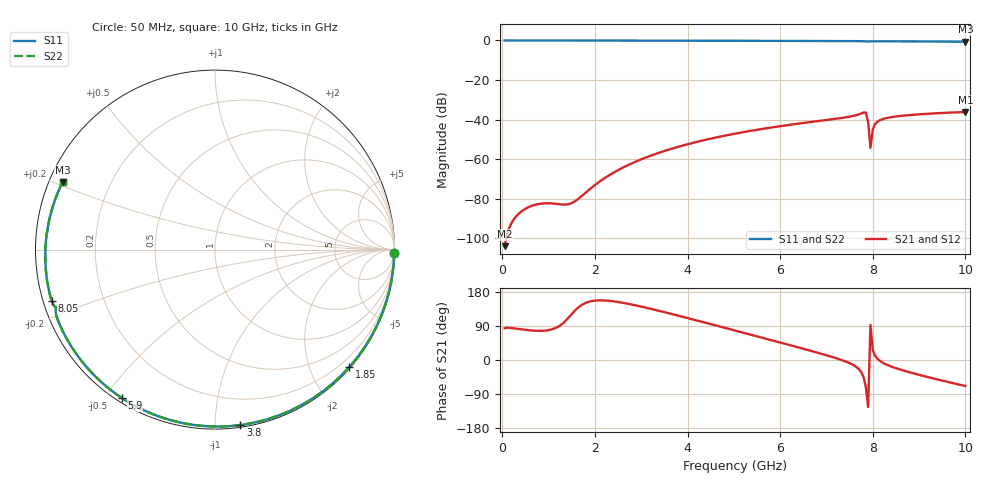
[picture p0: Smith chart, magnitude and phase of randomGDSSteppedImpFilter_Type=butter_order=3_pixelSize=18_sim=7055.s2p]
! freq	dB(S11)	phase(S11)	dB(S12)	phase(S12)
!  dB(S21)	phase(S21)	dB(S22)	phase(S22)
!S-par simulation data
#  GHz  S  DB  R 50
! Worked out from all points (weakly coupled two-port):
!   200 points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, 50 MHz to 10 GHz, reference 50 ohm
!   highest |S21| = -36.16 dB at 10 GHz (marker M1); lowest = -103.9 dB at 50 MHz (marker M2)
!   lowest |S11| = -0.6 dB at 10 GHz (marker M3), VSWR 27.13, Z = 1.93 + j10.6 ohm
!   |S11| at or under -10 dB: nowhere
!   |S22| runs from -0.6 to 0.0 dB; largest |S21 - S12| = 0
!   S11 on the Smith chart (normalised r, x): 50 MHz: open; 1.85 GHz: 0.02, -2.66; 3.8 GHz: 0.01, -1.16; 5.9 GHz: 0.02, -0.55; 8.05 GHz: 0.02, -0.15; 10 GHz: 0.04, +0.21
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0.05  -0.01 -1.1  -103.89 83.7  -103.89 83.7  -0.01 -1.1
0.8  -0.02 -18.0  -82.53 76.9  -82.53 76.9  -0.02 -18.0
1.6  -0.05 -35.8  -80.72 134.1  -80.72 134.1  -0.05 -35.8
1.75  -0.05 -39.0  -77.88 147.7  -77.88 147.7  -0.05 -39.0
1.85  -0.05 -41.2  -75.88 152.9  -75.88 152.9  -0.05 -41.2
2.15  -0.06 -47.7  -70.47 157.4  -70.47 157.4  -0.06 -47.6
2.5  -0.07 -55.1  -65.48 153.1  -65.48 153.1  -0.07 -55.1
3.4  -0.10 -73.7  -56.59 129.3  -56.59 129.3  -0.10 -73.7
3.8  -0.11 -81.8  -53.71 117.0  -53.71 117.0  -0.11 -81.8
5.05  -0.16 -106.1  -46.96 77.0  -46.96 77.0  -0.16 -106.1
5.9  -0.21 -122.1  -43.64 49.4  -43.64 49.4  -0.21 -122.1
6.7  -0.27 -137.1  -41.06 23.0  -41.06 23.0  -0.27 -137.1
7.5  -0.34 -152.3  -38.48 -8.3  -38.48 -8.3  -0.34 -152.3
7.85  -0.47 -159.5  -36.40 -70.8  -36.40 -70.8  -0.47 -159.5
7.9  -0.54 -159.8  -41.08 -123.9  -41.08 -123.9  -0.54 -159.8
7.95  -0.47 -160.4  -54.27 92.4  -54.27 92.4  -0.47 -160.4
8  -0.43 -161.4  -45.00 26.5  -45.00 26.5  -0.43 -161.4
8.05  -0.42 -162.4  -42.30 11.6  -42.30 11.6  -0.42 -162.5
8.15  -0.41 -164.5  -40.33 -1.9  -40.33 -1.9  -0.41 -164.5
8.35  -0.43 -168.6  -38.95 -14.9  -38.95 -14.9  -0.43 -168.6
9.2  -0.53 173.9  -37.00 -45.4  -37.00 -45.4  -0.53 173.8
10  -0.64 156.1  -36.16 -68.6  -36.16 -68.6  -0.64 156.0
